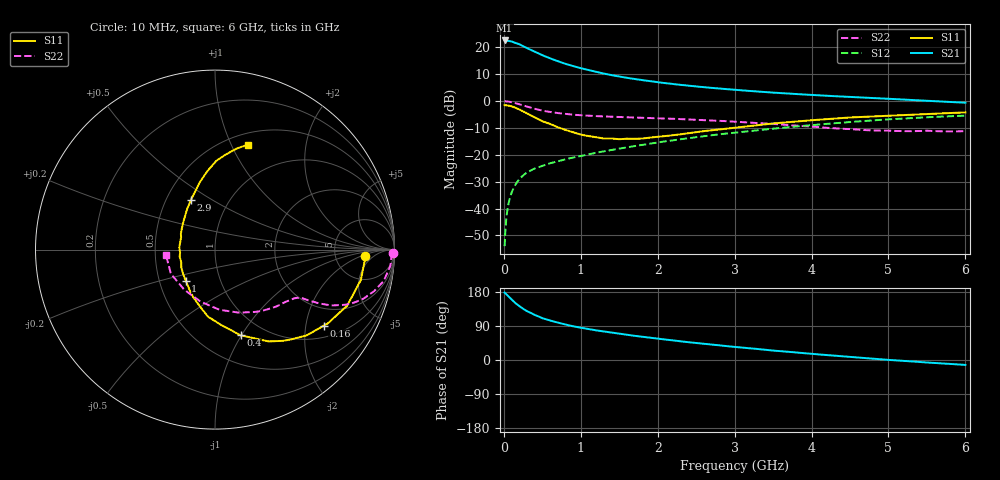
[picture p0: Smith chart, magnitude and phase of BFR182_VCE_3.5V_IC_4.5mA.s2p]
! Infineon Technologies  Discrete & RF Semiconductors
! BFR182
! VCE =  3.5 V,  IC =  4.5 mA
! Common Emitter S-Parameters:  Nov 2015
# GHz  S  MA  R  50
!  f  S11  S21  S12  S22
! GHz  MAG  ANG  MAG  ANG  MAG  ANG  MAG  ANG
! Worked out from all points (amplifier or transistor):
!   210 points, 10 MHz to 6 GHz, reference 50 ohm
!   highest |S21| = 22.5 dB at 10 MHz (marker M1)
!   |S21| within 3 dB of that: start of sweep to 312.5 MHz
!   unconditionally stable (mu >= 1): 1.136 GHz to 2.846 GHz
!   at 185 MHz: K = 0.31, MSG = 25.5 dB, |S12| = -29.7 dB
!   at 1.52 GHz: K = 1.06, MAG = 11.9 dB, |S12| = -17.6 dB
!   at 6 GHz: K = 0.88, MSG = 2.4 dB, |S12| = -5.4 dB
!   S11 on the Smith chart (normalised r, x): 10 MHz: 11, -3; 160 MHz: 1.35, -2.52; 400 MHz: 0.78, -0.99; 1 GHz: 0.68, -0.25; 2.9 GHz: 0.67, +0.41; 6 GHz: 0.62, +1.16
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0.01  0.8381 -2.6  13.37 177.9  0.002 89.5  0.9914 -1.1
0.02  0.8357 -4.7  13.09 175.8  0.0039 85.7  0.9846 -2.2
0.04  0.8304 -9.4  13.16 171.8  0.0082 83.7  0.9821 -4.3
0.05  0.8299 -11.8  13.22 169.8  0.0103 83.3  0.9814 -5.3
0.1  0.7999 -23.0  12.84 160.0  0.0197 78.7  0.9564 -10.5
0.16  0.739 -35.1  11.89 148.7  0.0293 71.8  0.9064 -15.4
0.2  0.6994 -43.1  11.38 142.3  0.0351 69.7  0.8708 -18.3
0.26  0.6333 -53.4  10.31 133.9  0.0424 64.9  0.8183 -21.5
0.3  0.5925 -59.7  9.644 129.0  0.0469 63.8  0.787 -23.0
0.4  0.4986 -73.3  8.299 119.0  0.0555 60.5  0.7178 -25.7
0.5  0.4214 -85.3  7.097 110.4  0.062 59.3  0.6616 -27.1
0.6  0.3758 -95.9  6.213 104.1  0.0695 58.6  0.6243 -27.9
0.8  0.2905 -114.9  4.911 93.6  0.0825 58.4  0.5756 -28.8
1  0.238 -133.4  4.078 85.2  0.0953 59.9  0.5433 -29.7
1.02  0.2345 -135.2  4.014 84.5  0.0966 60.0  0.5412 -29.8
1.4  0.2008 -168.8  3.024 72.4  0.1227 61.1  0.5105 -32.8
2.02  0.2172 149.0  2.217 55.9  0.1714 60.6  0.4764 -39.9
2.9  0.3068 115.9  1.661 36.6  0.2491 56.1  0.4212 -54.8
3.1  0.3304 111.1  1.575 32.7  0.2675 54.4  0.405 -59.2
4.1  0.4495 94.2  1.274 14.6  0.3662 44.8  0.3261 -89.4
5.1  0.5413 82.3  1.082 -1.0  0.4646 32.6  0.2775 -132.2
6  0.6139 72.4  0.93 -13.0  0.5347 19.7  0.2754 -174.2
